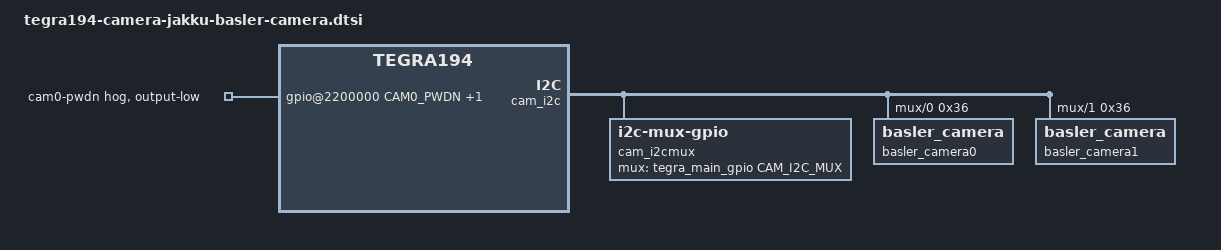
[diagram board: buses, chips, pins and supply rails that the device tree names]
/*
 * Copyright (c) 2018-2020, NVIDIA CORPORATION.  All rights reserved.
 *
 * This program is free software; you can redistribute it and/or modify
 * it under the terms of the GNU General Public License as published by
 * the Free Software Foundation; either version 2 of the License, or
 * (at your option) any later version.
 *
 * This program is distributed in the hope that it will be useful, but WITHOUT
 * ANY WARRANTY; without even the implied warranty of MERCHANTABILITY or
 * FITNESS FOR A PARTICULAR PURPOSE.  See the GNU General Public License for
 * more details.
 *
 * You should have received a copy of the GNU General Public License
 * along with this program.  If not, see <http://www.gnu.org/licenses/>.
 */

#include "tegra194-camera-basler-camera.dtsi"

#define CAM0_PWDN	TEGRA194_MAIN_GPIO(P, 4)
#define CAM1_PWDN	TEGRA194_MAIN_GPIO(P, 5)

#define CAM_I2C_MUX 	TEGRA194_MAIN_GPIO(Q, 6)

/ {
	cam_i2cmux{
		compatible = "i2c-mux-gpio";
		#address-cells = <1>;
		#size-cells = <0>;
		status = "okay";
		i2c-parent = <&cam_i2c>;
		mux-gpios = <&tegra_main_gpio CAM_I2C_MUX GPIO_ACTIVE_HIGH>;
		i2c@0 {
			status = "okay";
			reg = <0>;
			#address-cells = <1>;
			#size-cells = <0>;
			basler_camera0: basler_camera@36 {
				reg = <0x36>;
			};
		};
		i2c@1 {
			status = "okay";
			reg = <1>;
			#address-cells = <1>;
			#size-cells = <0>;
			basler_camera1: basler_camera@36 {
				reg = <0x36>;
			};
		};
	};

	gpio@2200000 {
		camera-control-output-low {
			gpio-hog;
			output-low;
			gpios = <CAM0_PWDN 0 CAM1_PWDN 0>;
			label = "cam0-pwdn","cam1-pwdn";
		};
	};
};
